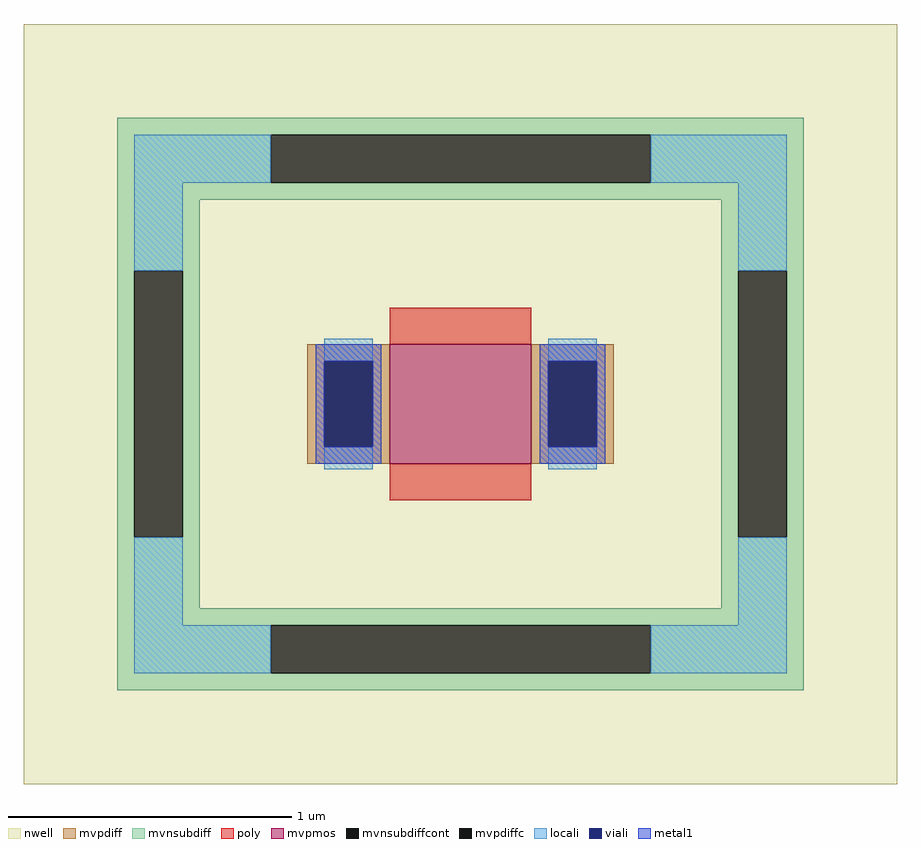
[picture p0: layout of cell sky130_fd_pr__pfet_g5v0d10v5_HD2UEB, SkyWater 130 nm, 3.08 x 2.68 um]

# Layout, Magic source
magic
tech sky130A
<< nwell >>
rect -154 -134 154 134
<< mvpmos >>
rect -25 -21 25 21
<< mvpdiff >>
rect -54 15 -25 21
rect -54 -15 -48 15
rect -31 -15 -25 15
rect -54 -21 -25 -15
rect 25 15 54 21
rect 25 -15 31 15
rect 48 -15 54 15
rect 25 -21 54 -15
<< mvpdiffc >>
rect -48 -15 -31 15
rect 31 -15 48 15
<< mvnsubdiff >>
rect -121 95 121 101
rect -121 78 -67 95
rect 67 78 121 95
rect -121 72 121 78
rect -121 47 -92 72
rect -121 -47 -115 47
rect -98 -47 -92 47
rect 92 47 121 72
rect -121 -72 -92 -47
rect 92 -47 98 47
rect 115 -47 121 47
rect 92 -72 121 -47
rect -121 -78 121 -72
rect -121 -95 -67 -78
rect 67 -95 121 -78
rect -121 -101 121 -95
<< mvnsubdiffcont >>
rect -67 78 67 95
rect -115 -47 -98 47
rect 98 -47 115 47
rect -67 -95 67 -78
<< poly >>
rect -25 21 25 34
rect -25 -34 25 -21
<< locali >>
rect -115 78 -67 95
rect 67 78 115 95
rect -115 47 -98 78
rect 98 47 115 78
rect -48 15 -31 23
rect -48 -23 -31 -15
rect 31 15 48 23
rect 31 -23 48 -15
rect -115 -78 -98 -47
rect 98 -78 115 -47
rect -115 -95 -67 -78
rect 67 -95 115 -78
<< viali >>
rect -48 -15 -31 15
rect 31 -15 48 15
<< metal1 >>
rect -51 15 -28 21
rect -51 -15 -48 15
rect -31 -15 -28 15
rect -51 -21 -28 -15
rect 28 15 51 21
rect 28 -15 31 15
rect 48 -15 51 15
rect 28 -21 51 -15
<< properties >>
string FIXED_BBOX -106 -86 106 86
string gencell sky130_fd_pr__pfet_g5v0d10v5
string library sky130
string parameters w 0.42 l 0.50 m 1 nf 1 diffcov 100 polycov 100 guard 1 glc 1 grc 1 gtc 1 gbc 1 tbcov 100 rlcov 100 topc 0 botc 0 poverlap 0 doverlap 1 lmin 0.50 wmin 0.42 compatible {sky130_fd_pr__pfet_01v8  sky130_fd_pr__pfet_01v8_lvt sky130_fd_pr__pfet_01v8_hvt  sky130_fd_pr__pfet_g5v0d10v5} full_metal 1 viasrc 100 viadrn 100 viagate 100 viagb 0 viagr 0 viagl 0 viagt 0
<< end >>
